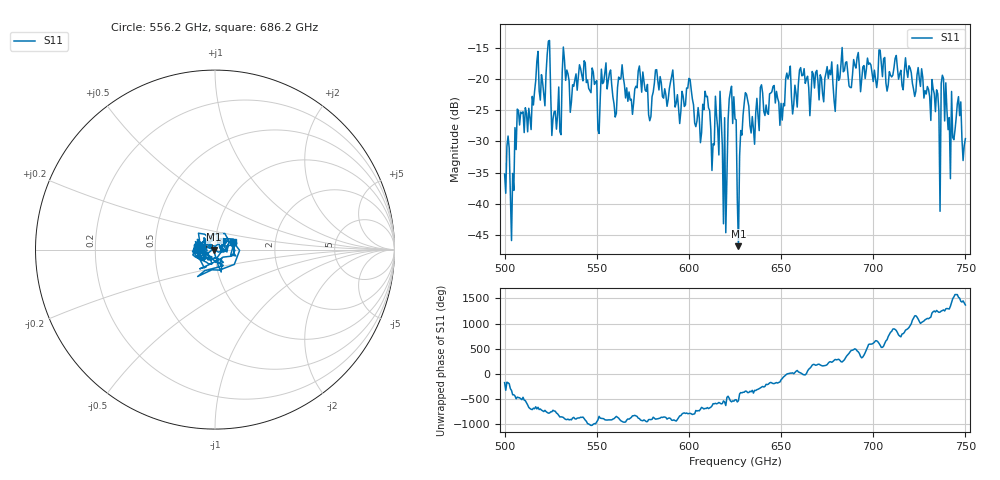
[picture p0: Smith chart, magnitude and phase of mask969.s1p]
!Created with skrf (http://scikit-rf.org).
# GHz S MA R 50.0
!freq magS11 angS11
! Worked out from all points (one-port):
!   401 points, 500 GHz to 750 GHz, reference 50 ohm
!   lowest |S11| = -46.8 dB at 626.9 GHz (marker M1), VSWR 1.01, Z = 49.5 - j0.0672 ohm
!   |S11| at or under -10 dB: start of sweep to end of sweep
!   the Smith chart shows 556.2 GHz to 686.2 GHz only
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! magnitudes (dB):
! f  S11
! 500 GHz  -35.2
! 503.8 GHz  -45.9
! 506.9 GHz  -24.8
! 517.5 GHz  -17.2
! 523.8 GHz  -14.0
! 526.9 GHz  -25.2
! 531.2 GHz  -18.9
! 556.2 GHz  -20.3
! 560 GHz  -26.1
! 562.5 GHz  -20.1
! 593.8 GHz  -22.5
! 610 GHz  -22.8
! 612.5 GHz  -34.7
! 616.2 GHz  -32.2
! 619.4 GHz  -26.2
! 622.5 GHz  -22.0
! 625 GHz  -26.4
! 626.9 GHz  -46.8
! 631.2 GHz  -22.5
! 634.4 GHz  -26.0
! 656.2 GHz  -25.6
! 687.5 GHz  -21.4
! 718.8 GHz  -19.8
! 735 GHz  -22.4
! 738.1 GHz  -19.9
! 743.1 GHz  -29.4
! 746.2 GHz  -22.8
! 750 GHz  -29.6
